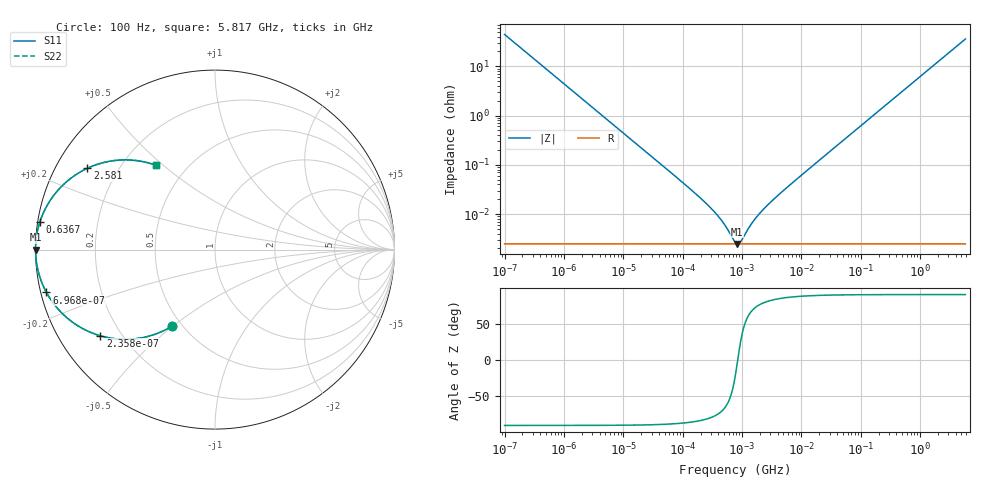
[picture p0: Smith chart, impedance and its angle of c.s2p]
!2-port S-parameter file
!Title: ** capacitor model
!Generated by ngspice at Sun Jun  4 15:54:23  2023
# Hz S RI R 50
!freq  ReS11  ImS11  ReS21  ImS21  ReS12  ImS12  ReS22  ImS22
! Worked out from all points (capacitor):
!   397 points, 100 Hz to 5.817 GHz, reference 50 ohm
!   read as one part in shunt: C = 35.9 uF near 104.6 Hz
!   lowest |Z| = 2.48 mohm at 834.8 kHz (marker M1)
!   series resonance near 848.1 kHz, so ESL is about 980 pH
!   S11 on the Smith chart (normalised r, x): 100 Hz: 0.44, -0.50; 235.8 Hz: 0.12, -0.33; 696.8 Hz: 0.02, -0.13; 636.7 MHz: 0.01, +0.08; 2.581 GHz: 0.09, +0.29; 5.817 GHz: 0.34, +0.47
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100  -0.2416 -0.428  0.7584 -0.428  0.7584 -0.428  -0.2416 -0.428
157.0646  -0.4401 -0.4964  0.5599 -0.4964  0.5599 -0.4964  -0.4401 -0.4964
235.8028  -0.6391 -0.4802  0.3609 -0.4802  0.3609 -0.4802  -0.6391 -0.4802
405.3621  -0.8396 -0.3669  0.1604 -0.3669  0.1604 -0.3669  -0.8396 -0.3669
696.8467  -0.9392 -0.2388  0.0608 -0.2388  0.0608 -0.2388  -0.9392 -0.2388
2059.328  -0.9926 -0.0854  0.00744 -0.0854  0.00744 -0.0854  -0.9926 -0.0854
6366.805  -0.9991 -0.0278  0.000872 -0.0278  0.000872 -0.0278  -0.9991 -0.0278
40536.21  -0.9999 -0.00436  0.000118 -0.00436  0.000118 -0.00436  -0.9999 -0.00436
309169.1  -0.9999 -0.000497  9.92e-05 -0.000497  9.92e-05 -0.000497  -0.9999 -0.000497
485595.3  -0.9999 -0.000245  9.9e-05 -0.000245  9.9e-05 -0.000245  -0.9999 -0.000245
762698.6  -0.9999 -4.43e-05  9.89e-05 -4.43e-05  9.89e-05 -4.43e-05  -0.9999 -4.43e-05
834773.4  -0.9999 -6.53e-06  9.89e-05 -6.53e-06  9.89e-05 -6.53e-06  -0.9999 -6.53e-06
955855.3  -0.9999 5.02e-05  9.89e-05 5.02e-05  9.89e-05 5.02e-05  -0.9999 5.02e-05
1501311  -0.9999 0.000252  9.9e-05 0.000252  9.9e-05 0.000252  -0.9999 0.000252
2358028  -0.9999 0.000506  9.92e-05 0.000506  9.92e-05 0.000506  -0.9999 0.000506
1.501311e7  -0.9999 0.00369  0.000113 0.00369  0.000113 0.00369  -0.9999 0.00369
3.091691e8  -0.9941 0.0757  0.00587 0.0757  0.00587 0.0757  -0.9941 0.0757
6.366805e8  -0.9759 0.1531  0.0241 0.1531  0.0241 0.1531  -0.9759 0.1531
1.371687e9  -0.8974 0.3033  0.1026 0.3033  0.1026 0.3033  -0.8974 0.3033
2.580862e9  -0.712 0.4528  0.288 0.4528  0.288 0.4528  -0.712 0.4528
3.874675e9  -0.5231 0.4994  0.4769 0.4994  0.4769 0.4994  -0.5231 0.4994
5.817091e9  -0.3274 0.4692  0.6726 0.4692  0.6726 0.4692  -0.3274 0.4692
